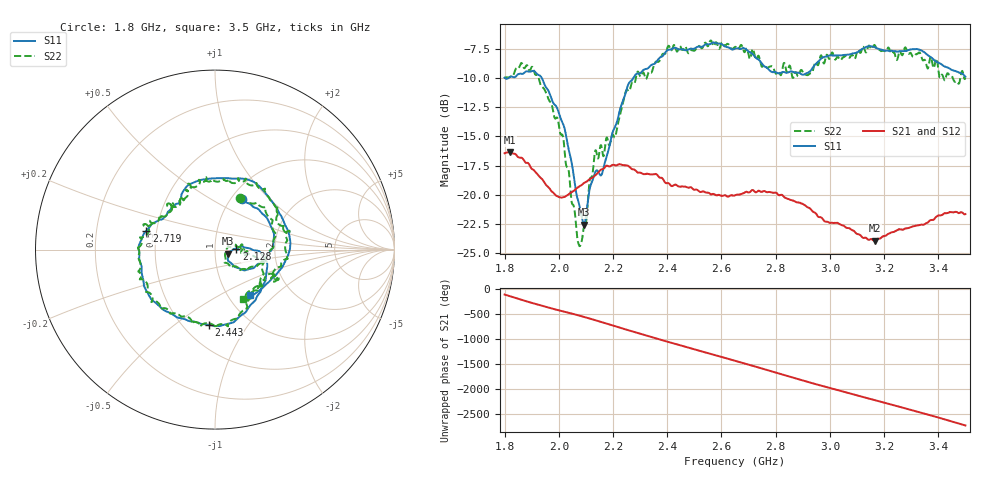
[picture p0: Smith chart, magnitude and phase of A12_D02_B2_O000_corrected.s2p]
! Created with skrf 1.9.0 (http://scikit-rf.org).
# Hz S RI R 50.0
!freq ReS11 ImS11 ReS21 ImS21 ReS12 ImS12 ReS22 ImS22
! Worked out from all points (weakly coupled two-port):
!   1601 points, 1.8 GHz to 3.5 GHz, reference 50 ohm
!   highest |S21| = -16.36 dB at 1.819 GHz (marker M1); lowest = -24.0 dB at 3.165 GHz (marker M2)
!   lowest |S11| = -22.6 dB at 2.092 GHz (marker M3), VSWR 1.16, Z = 57.5 - j2.65 ohm
!   |S11| at or under -10 dB: 1.802 GHz to 1.813 GHz (11.65 MHz wide, 0.644 % of centre); 1.938 GHz to 2.274 GHz (336.8 MHz wide, 16 % of centre)
!   |S22| runs from -24.4 to -6.8 dB; largest |S21 - S12| = 0.0025
!   S11 on the Smith chart (normalised r, x): 1.8 GHz: 1.13, +0.70; 2.128 GHz: 1.27, +0.00; 2.443 GHz: 0.66, -0.67; 2.719 GHz: 0.44, +0.11; 3.5 GHz: 1.26, -0.71
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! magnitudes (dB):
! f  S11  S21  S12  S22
! 1.8 GHz  -10.0  -16.4  -16.4  -9.9
! 1.819 GHz  -9.9  -16.4  -16.4  -9.9
! 1.902 GHz  -9.4  -17.8  -17.8  -9.0
! 1.968 GHz  -11.4  -19.5  -19.6  -12.0
! 2.021 GHz  -14.3  -20.2  -20.2  -16.2
! 2.071 GHz  -20.5  -19.4  -19.4  -24.1
! 2.084 GHz  -21.8  -19.2  -19.1  -24.0
! 2.092 GHz  -22.6  -19.0  -19.1  -22.9
! 2.128 GHz  -18.5  -18.5  -18.5  -17.4
! 2.161 GHz  -18.1  -17.8  -17.7  -16.4
! 2.209 GHz  -14.1  -17.5  -17.4  -15.0
! 2.259 GHz  -10.4  -17.6  -17.6  -11.1
! 2.367 GHz  -8.4  -18.4  -18.4  -8.6
! 2.443 GHz  -7.5  -19.3  -19.3  -7.4
! 2.65 GHz  -7.5  -20.1  -20.0  -7.3
! 2.719 GHz  -8.0  -19.7  -19.6  -7.6
! 2.788 GHz  -9.5  -19.8  -19.8  -9.0
! 2.934 GHz  -9.2  -21.4  -21.4  -9.5
! 3.165 GHz  -7.3  -24.0  -23.9  -7.2
! 3.217 GHz  -7.7  -23.4  -23.3  -7.4
! 3.329 GHz  -7.5  -22.6  -22.6  -7.8
! 3.5 GHz  -9.9  -21.7  -21.7  -9.9
